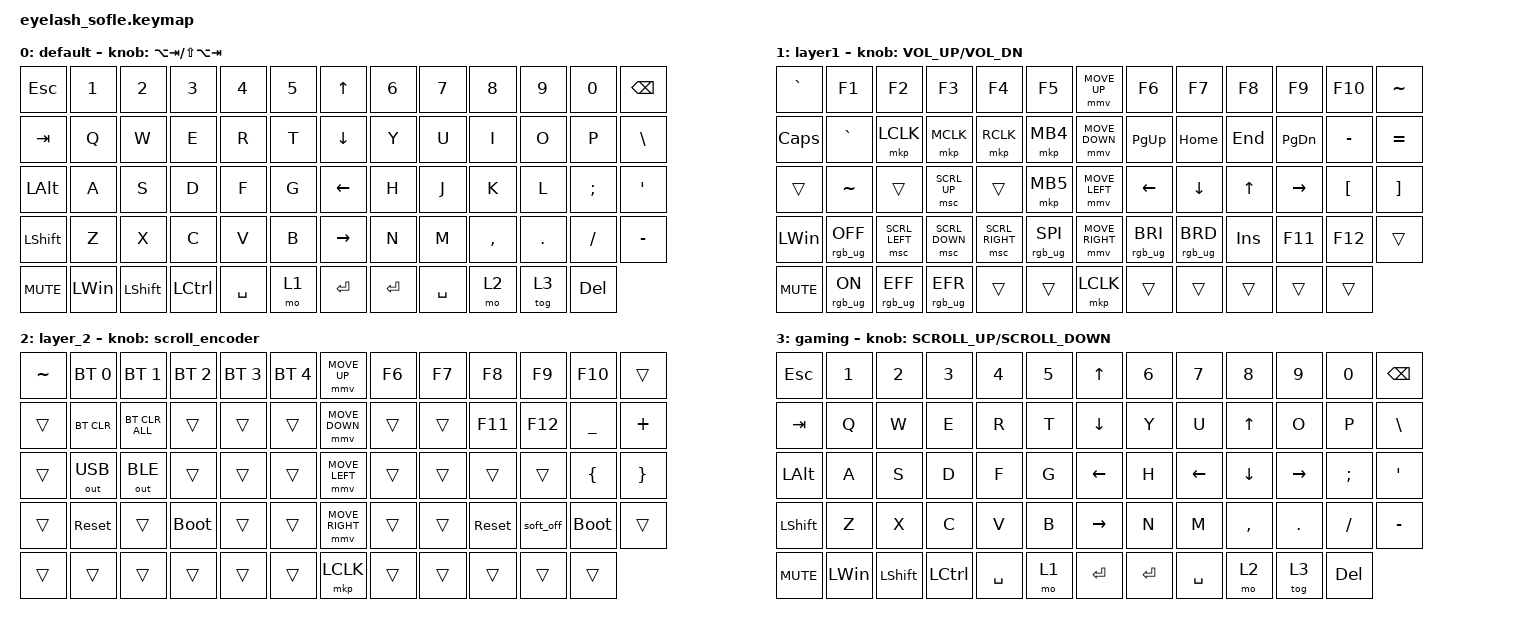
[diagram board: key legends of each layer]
#include <dt-bindings/zmk/mouse.h>
#include <input/processors.dtsi>
#include <behaviors.dtsi>
#include <dt-bindings/zmk/bt.h>
#include <dt-bindings/zmk/keys.h>
#include <dt-bindings/zmk/outputs.h>
#include <dt-bindings/zmk/pointing.h>
#include <dt-bindings/zmk/pointing.h>
#include <dt-bindings/zmk/pointing.h>
#include <dt-bindings/zmk/rgb.h>

/*

   &mmv_input_listener {
       input-processors = <&zip_xy_scaler 2 1>;
   };

   &msc_input_listener {
       input-processors = <&zip_xy_scaler 2 1>;
   };

 */

#define ZMK_MOUSE_DEFAULT_MOVE_VAL 1200  // 600
#define ZMK_MOUSE_DEFAULT_SCRL_VAL 20    // 10

/ {
    behaviors {
        mmv {
            acceleration-exponent = <1>;      // 1
            time-to-max-speed-ms = <900>;    // 40
            delay-ms = <0>;                   // 0
        };

        msc {
            acceleration-exponent = <1>;      // 0
            time-to-max-speed-ms = <400>;      // 500
            delay-ms = <0>;                   //   10
        };
    };

    scroll_encoder: scroll_encoder {
        compatible = "zmk,behavior-sensor-rotate";
        #sensor-binding-cells = <0>;
        bindings = <&msc SCRL_DOWN>, <&msc SCRL_UP>;

        tap-ms = <30>;
    };

    macros {
        macro_auto_sqbracket: macro_auto_sqbracket {
            compatible = "zmk,behavior-macro";
            #binding-cells = <0>;
            bindings = <&kp LEFT_BRACKET &kp RIGHT_BRACKET &kp LEFT>;
            label = "MACRO_AUTO_SQBRACKET";
        };
    };

    keymap {
        compatible = "zmk,keymap";

        layer_0 {
            bindings = <
&kp ESC     &kp N1        &kp N2          &kp N3     &kp N4     &kp N5    &kp UP_ARROW     &kp N6     &kp N7     &kp N8     &kp N9   &kp N0      &kp BACKSPACE
&kp TAB     &kp Q         &kp W           &kp E      &kp R      &kp T     &kp DOWN_ARROW   &kp Y      &kp U      &kp I      &kp O    &kp P       &kp BSLH
&kp LALT    &kp A         &kp S           &kp D      &kp F      &kp G     &kp LEFT_ARROW   &kp H      &kp J      &kp K      &kp L    &kp SEMI    &kp APOS
&kp LSHIFT  &kp Z         &kp X           &kp C      &kp V      &kp B     &kp RIGHT_ARROW  &kp N      &kp M      &kp COMMA  &kp DOT  &kp FSLH    &kp MINUS
&kp C_MUTE  &kp LEFT_WIN  &kp LEFT_SHIFT  &kp LCTRL  &kp SPACE  &mo 1     &kp ENTER        &kp ENTER  &kp SPACE  &mo 2      &tog 3   &kp DELETE
            >;

            sensor-bindings = <&inc_dec_kp LA(TAB) LS(LA(TAB))>;
            display-name = "default";
        };

        layer_1 {
            bindings = <
&kp GRAVE     &kp F1           &kp F2           &kp F3           &kp F4           &kp F5             &mmv MOVE_UP     &kp F6           &kp F7           &kp F8        &kp F9     &kp F10           &kp TILDE
&kp CAPS      &kp GRAVE        &mkp LCLK        &mkp MCLK        &mkp RCLK        &mkp MB4           &mmv MOVE_DOWN   &kp PG_UP        &kp HOME         &kp END       &kp PG_DN  &kp MINUS         &kp EQUAL
&trans        &kp TILDE        &trans           &msc SCRL_UP     &trans           &mkp MB5           &mmv MOVE_LEFT   &kp LEFT_ARROW   &kp DOWN         &kp UP_ARROW  &kp RIGHT  &kp LEFT_BRACKET  &kp RIGHT_BRACKET
&kp LEFT_WIN  &rgb_ug RGB_OFF  &msc SCRL_LEFT   &msc SCRL_DOWN   &msc SCRL_RIGHT  &rgb_ug RGB_SPI    &mmv MOVE_RIGHT  &rgb_ug RGB_BRI  &rgb_ug RGB_BRD  &kp INSERT    &kp F11    &kp F12           &trans
&kp C_MUTE    &rgb_ug RGB_ON   &rgb_ug RGB_EFF  &rgb_ug RGB_EFR  &trans           &trans             &mkp LCLK        &trans           &trans           &trans        &trans     &trans
            >;

            display-name = "layer1";
            sensor-bindings = <&inc_dec_kp C_VOL_UP C_VOL_DN>;
        };

        layer_2 {
            bindings = <
&kp TILDE  &bt BT_SEL 0  &bt BT_SEL 1    &bt BT_SEL 2  &bt BT_SEL 3  &bt BT_SEL 4    &mmv MOVE_UP     &kp F6  &kp F7  &kp F8      &kp F9     &kp F10      &trans
&trans     &bt BT_CLR    &bt BT_CLR_ALL  &trans        &trans        &trans          &mmv MOVE_DOWN   &trans  &trans  &kp F11     &kp F12    &kp UNDER    &kp PLUS
&trans     &out OUT_USB  &out OUT_BLE    &trans        &trans        &trans          &mmv MOVE_LEFT   &trans  &trans  &trans      &trans     &kp LBRC     &kp RBRC
&trans     &sys_reset    &trans          &bootloader   &trans        &trans          &mmv MOVE_RIGHT  &trans  &trans  &sys_reset  &soft_off  &bootloader  &trans
&trans     &trans        &trans          &trans        &trans        &trans          &mkp LCLK        &trans  &trans  &trans      &trans     &trans
            >;

            sensor-bindings = <&scroll_encoder>;
        };

        layer_3 {
            display-name = " gaming";
            bindings = <
&kp ESC     &kp N1        &kp N2          &kp N3     &kp N4     &kp N5    &kp UP_ARROW     &kp N6     &kp N7     &kp N8        &kp N9     &kp N0      &kp BACKSPACE
&kp TAB     &kp Q         &kp W           &kp E      &kp R      &kp T     &kp DOWN_ARROW   &kp Y      &kp U      &kp UP_ARROW  &kp O      &kp P       &kp BSLH
&kp LALT    &kp A         &kp S           &kp D      &kp F      &kp G     &kp LEFT_ARROW   &kp H      &kp LEFT   &kp DOWN      &kp RIGHT  &kp SEMI    &kp APOS
&kp LSHIFT  &kp Z         &kp X           &kp C      &kp V      &kp B     &kp RIGHT_ARROW  &kp N      &kp M      &kp COMMA     &kp DOT    &kp FSLH    &kp MINUS
&kp C_MUTE  &kp LEFT_WIN  &kp LEFT_SHIFT  &kp LCTRL  &kp SPACE  &mo 1     &kp ENTER        &kp ENTER  &kp SPACE  &mo 2         &tog 3     &kp DELETE
            >;

            sensor-bindings = <&inc_dec_kp K_SCROLL_UP K_SCROLL_DOWN>;
        };
    };
};
